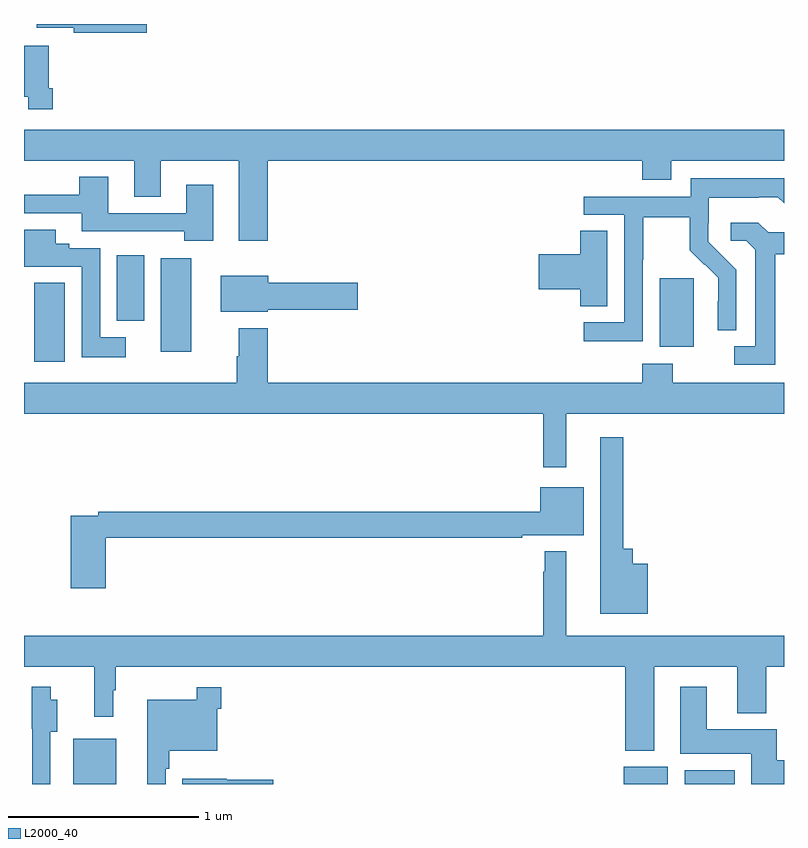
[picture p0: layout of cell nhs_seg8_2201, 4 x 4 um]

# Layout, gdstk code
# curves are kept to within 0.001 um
import gdstk
lib = gdstk.Library(unit=1e-6, precision=1e-09)
def R(c, l, rs):  # rectangles x0, y0, x1, y1
    for r in rs: c.add(gdstk.rectangle(r[:2], r[2:], *l))
def P(c, l, *ps):  # polygons
    for p in ps: c.add(gdstk.Polygon(p, *l))
L2000_40 = (2000, 40)

nhs_seg8_2201 = lib.new_cell('nhs_seg8_2201')
R(nhs_seg8_2201, L2000_40, [(251.258,1099.9,251.485,1100.137), (254.156,1099.9,254.389,1099.99), (254.477,1099.9,254.74,1099.972), (251.054,1102.122,251.215,1102.537), (251.72,1102.176,251.881,1102.666), (254.345,1102.202,254.524,1102.563), (251.489,1102.337,251.632,1102.684)])
P(nhs_seg8_2201, L2000_40, [(251.647,1103.9),(251.066,1103.9),(251.066,1103.879),(251.262,1103.879),(251.262,1103.855),(251.647,1103.855)],
  [(251.15,1103.563),(251.13,1103.563),(251.13,1103.785),(251,1103.785),(251,1103.516),(251.022,1103.516),(251.022,1103.451),(251.15,1103.451)],
  [(252.284,1103.18),(254.255,1103.18),(254.255,1103.081),(254.407,1103.081),(254.407,1103.18),(255,1103.18),(255,1103.344),(251,1103.344),(251,1103.18),(251.579,1103.18),(251.579,1102.99),(251.719,1102.99),(251.719,1103.18),(252.131,1103.18),(252.131,1102.758),(252.284,1102.758)],
  [(251.995,1103.053),(251.855,1103.053),(251.855,1102.905),(251.443,1102.905),(251.443,1103.095),(251.291,1103.095),(251.291,1103.002),(251,1103.002),(251,1102.905),(251.303,1102.905),(251.303,1102.809),(251.843,1102.809),(251.843,1102.758),(251.995,1102.758)],
  [(254.256,1102.66),(254.259,1102.66),(254.259,1102.884),(254.503,1102.884),(254.503,1102.709),(254.58,1102.632),(254.583,1102.635),(254.654,1102.565),(254.654,1102.442),(254.652,1102.442),(254.652,1102.288),(254.748,1102.288),(254.748,1102.606),(254.602,1102.754),(254.602,1102.851),(254.604,1102.851),(254.604,1102.985),(254.867,1102.985),(254.867,1102.989),(254.967,1102.989),(255,1102.956),(255,1103.089),(254.508,1103.089),(254.508,1102.992),(253.947,1102.992),(253.947,1102.896),(254.16,1102.896),(254.16,1102.329),(253.947,1102.329),(253.947,1102.231),(254.256,1102.231)],
  [(254.953,1102.688),(255,1102.688),(255,1102.803),(254.916,1102.803),(254.864,1102.855),(254.721,1102.855),(254.721,1102.758),(254.802,1102.758),(254.849,1102.711),(254.849,1102.203),(254.739,1102.203),(254.739,1102.107),(254.953,1102.107)],
  [(251.536,1102.252),(251.4,1102.252),(251.4,1102.719),(251.238,1102.719),(251.238,1102.744),(251.167,1102.744),(251.167,1102.816),(251,1102.816),(251,1102.622),(251.058,1102.622),(251.058,1102.623),(251.304,1102.623),(251.304,1102.145),(251.536,1102.145)],
  [(254.071,1102.811),(253.928,1102.811),(253.928,1102.688),(253.71,1102.688),(253.71,1102.505),(253.928,1102.505),(253.928,1102.414),(254.071,1102.414)],
  [(252.282,1102.396),(252.757,1102.396),(252.757,1102.538),(252.286,1102.538),(252.286,1102.576),(252.035,1102.576),(252.035,1102.385),(252.282,1102.385)],
  [(253.855,1101.848),(255,1101.848),(255,1102.012),(254.415,1102.012),(254.415,1102.111),(254.255,1102.111),(254.255,1102.012),(252.284,1102.012),(252.284,1102.3),(252.131,1102.3),(252.131,1102.151),(252.119,1102.151),(252.119,1102.012),(251,1102.012),(251,1101.848),(253.734,1101.848),(253.734,1101.567),(253.855,1101.567)],
  [(254.284,1101.058),(254.204,1101.058),(254.204,1101.139),(254.155,1101.139),(254.155,1101.724),(254.033,1101.724),(254.033,1100.795),(254.284,1100.795)],
  [(251.429,1101.196),(253.622,1101.196),(253.622,1101.209),(253.945,1101.209),(253.945,1101.463),(253.718,1101.463),(253.718,1101.332),(251.392,1101.332),(251.392,1101.312),(251.246,1101.312),(251.246,1100.931),(251.429,1100.931)],
  [(253.74,1101.124),(253.74,1101.017),(253.734,1101.017),(253.734,1100.68),(251,1100.68),(251,1100.516),(251.371,1100.516),(251.371,1100.253),(251.47,1100.253),(251.47,1100.393),(251.482,1100.393),(251.482,1100.516),(254.165,1100.516),(254.165,1100.075),(254.317,1100.075),(254.317,1100.516),(254.753,1100.516),(254.753,1100.273),(254.906,1100.273),(254.906,1100.516),(255,1100.516),(255,1100.68),(253.855,1100.68),(253.855,1101.124)],
  [(251.139,1100.174),(251.176,1100.174),(251.176,1100.344),(251.142,1100.344),(251.142,1100.413),(251.042,1100.413),(251.042,1100.19),(251.043,1100.19),(251.043,1099.9),(251.139,1099.9)],
  [(255,1100.024),(254.963,1100.024),(254.963,1100.188),(254.593,1100.188),(254.593,1100.413),(254.453,1100.413),(254.453,1100.06),(254.828,1100.06),(254.828,1099.9),(255,1099.9)],
  [(251.746,1099.979),(251.765,1099.979),(251.765,1100.075),(252.018,1100.075),(252.018,1100.297),(252.038,1100.297),(252.038,1100.41),(251.91,1100.41),(251.91,1100.344),(251.648,1100.344),(251.648,1099.9),(251.746,1099.9)],
  [(252.313,1099.922),(252.066,1099.922),(252.066,1099.927),(251.834,1099.927),(251.834,1099.9),(252.313,1099.9)])

lib.write_gds('nhs_seg8_2201.gds')
